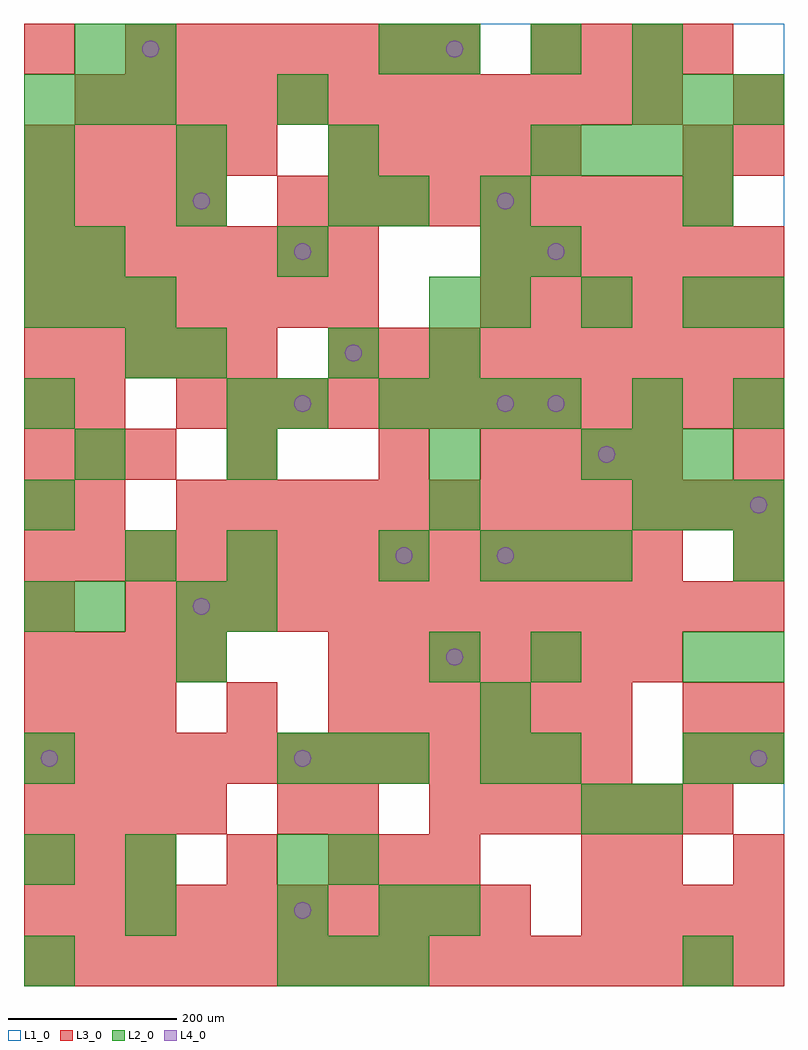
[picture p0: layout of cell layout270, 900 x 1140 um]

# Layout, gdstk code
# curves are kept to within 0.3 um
import gdstk
lib = gdstk.Library(unit=1e-6, precision=1e-09)
def R(c, l, rs):  # rectangles x0, y0, x1, y1
    for r in rs: c.add(gdstk.rectangle(r[:2], r[2:], *l))
def A(c, l, x, y, w, h, nx, ny, dx, dy):  # array of equal rectangles
    R(c, l, [(x+i*dx, y+j*dy, x+i*dx+w, y+j*dy+h) for i in range(nx) for j in range(ny)])
def P(c, l, *ps):  # polygons
    for p in ps: c.add(gdstk.Polygon(p, *l))
L1_0 = (1, 0)
L2_0 = (2, 0)
L3_0 = (3, 0)
L4_0 = (4, 0)

layout270 = lib.new_cell('layout270')
R(layout270, L1_0, [(0,0,900,1140)])
A(layout270, L2_0, 0, 0, 60, 60, 1, 3, 0, 120)
A(layout270, L2_0, 300, 0, 60, 60, 3, 2, 60, 240)
A(layout270, L2_0, 420, 60, 60, 60, 1, 3, 0, 420)
A(layout270, L2_0, 840, 240, 60, 60, 1, 3, 0, 120)
A(layout270, L2_0, 0, 420, 60, 60, 1, 3, 0, 120)
A(layout270, L2_0, 540, 480, 60, 60, 3, 1, 60, 0)
A(layout270, L2_0, 720, 540, 60, 60, 3, 2, 60, 480)
A(layout270, L2_0, 660, 600, 60, 60, 3, 1, 60, 0)
A(layout270, L2_0, 420, 660, 60, 60, 4, 1, 60, 0)
A(layout270, L2_0, 0, 780, 60, 60, 3, 2, 60, 240)
A(layout270, L2_0, 540, 780, 60, 60, 3, 1, 120, 0)
A(layout270, L2_0, 60, 840, 60, 60, 3, 1, 240, 0)
A(layout270, L2_0, 0, 900, 60, 60, 3, 2, 180, 60)
A(layout270, L2_0, 600, 960, 60, 60, 4, 1, 60, 0)
A(layout270, L2_0, 480, 1080, 60, 60, 3, 1, 120, 0)
R(layout270, L2_0, [(780,0,840,60), (120,60,180,120), (300,60,360,120), (480,60,540,120), (120,120,180,180), (300,120,360,180), (360,120,420,180), (660,180,720,240), (720,180,780,240), (540,240,600,300), (600,240,660,300), (780,240,840,300), (540,300,600,360), (180,360,240,420), (480,360,540,420), (600,360,660,420), (780,360,840,420), (60,420,120,480), (180,420,240,480), (240,420,300,480), (120,480,180,540), (240,480,300,540), (480,540,540,600), (60,600,120,660), (240,600,300,660), (480,600,540,660), (240,660,300,720), (300,660,360,720), (720,660,780,720), (840,660,900,720), (120,720,180,780), (180,720,240,780), (360,720,420,780), (480,720,540,780), (480,780,540,840), (840,780,900,840), (0,840,60,900), (600,840,660,900), (540,900,600,960), (780,900,840,960), (300,1020,360,1080), (60,1080,120,1140), (120,1080,180,1140), (420,1080,480,1140)])
A(layout270, L3_0, 0, 0, 60, 60, 15, 1, 60, 0)
A(layout270, L3_0, 0, 60, 60, 60, 10, 1, 60, 0)
A(layout270, L3_0, 660, 60, 60, 60, 4, 1, 60, 0)
A(layout270, L3_0, 0, 120, 60, 60, 3, 2, 60, 180)
A(layout270, L3_0, 360, 120, 60, 60, 3, 1, 60, 0)
A(layout270, L3_0, 0, 180, 60, 60, 4, 2, 60, 180)
A(layout270, L3_0, 480, 180, 60, 60, 6, 1, 60, 0)
A(layout270, L3_0, 0, 240, 60, 60, 12, 1, 60, 0)
A(layout270, L3_0, 360, 300, 60, 60, 6, 1, 60, 0)
A(layout270, L3_0, 360, 360, 60, 60, 7, 1, 60, 0)
A(layout270, L3_0, 0, 420, 60, 60, 1, 3, 0, 120)
A(layout270, L3_0, 120, 420, 60, 60, 13, 1, 60, 0)
A(layout270, L3_0, 0, 480, 60, 60, 13, 1, 60, 0)
A(layout270, L3_0, 180, 540, 60, 60, 12, 2, 60, 120)
A(layout270, L3_0, 0, 600, 60, 60, 3, 1, 60, 0)
A(layout270, L3_0, 540, 600, 60, 60, 4, 1, 60, 0)
A(layout270, L3_0, 0, 720, 60, 60, 5, 2, 60, 240)
A(layout270, L3_0, 360, 720, 60, 60, 9, 1, 60, 0)
A(layout270, L3_0, 0, 780, 60, 60, 7, 2, 60, 60)
A(layout270, L3_0, 540, 780, 60, 60, 6, 2, 60, 60)
A(layout270, L3_0, 0, 900, 60, 60, 4, 1, 60, 0)
A(layout270, L3_0, 300, 900, 60, 60, 9, 1, 60, 0)
A(layout270, L3_0, 360, 960, 60, 60, 5, 1, 60, 0)
A(layout270, L3_0, 60, 1020, 60, 60, 12, 1, 60, 0)
A(layout270, L3_0, 120, 1080, 60, 60, 7, 1, 60, 0)
A(layout270, L3_0, 600, 1080, 60, 60, 4, 1, 60, 0)
R(layout270, L3_0, [(240,120,300,180), (660,120,720,180), (720,120,780,180), (840,120,900,180), (300,180,360,240), (360,180,420,240), (780,240,840,300), (840,240,900,300), (240,300,300,360), (780,300,840,360), (840,300,900,360), (840,480,900,540), (60,540,120,600), (240,600,300,660), (420,600,480,660), (840,600,900,660), (60,660,120,720), (780,960,840,1020), (840,960,900,1020), (840,1020,900,1080), (0,1080,60,1140)])
P(layout270, L4_0, [(40,270),(39.239,273.827),(37.071,277.071),(33.827,279.239),(30,280),(26.173,279.239),(22.929,277.071),(20.761,273.827),(20,270),(20.761,266.173),(22.929,262.929),(26.173,260.761),(30,260),(33.827,260.761),(37.071,262.929),(39.239,266.173)],
  [(160,1110),(159.239,1113.827),(157.071,1117.071),(153.827,1119.239),(150,1120),(146.173,1119.239),(142.929,1117.071),(140.761,1113.827),(140,1110),(140.761,1106.173),(142.929,1102.929),(146.173,1100.761),(150,1100),(153.827,1100.761),(157.071,1102.929),(159.239,1106.173)],
  [(220,450),(219.239,453.827),(217.071,457.071),(213.827,459.239),(210,460),(206.173,459.239),(202.929,457.071),(200.761,453.827),(200,450),(200.761,446.173),(202.929,442.929),(206.173,440.761),(210,440),(213.827,440.761),(217.071,442.929),(219.239,446.173)],
  [(220,930),(219.239,933.827),(217.071,937.071),(213.827,939.239),(210,940),(206.173,939.239),(202.929,937.071),(200.761,933.827),(200,930),(200.761,926.173),(202.929,922.929),(206.173,920.761),(210,920),(213.827,920.761),(217.071,922.929),(219.239,926.173)],
  [(340,90),(339.239,93.827),(337.071,97.071),(333.827,99.239),(330,100),(326.173,99.239),(322.929,97.071),(320.761,93.827),(320,90),(320.761,86.173),(322.929,82.929),(326.173,80.761),(330,80),(333.827,80.761),(337.071,82.929),(339.239,86.173)],
  [(340,270),(339.239,273.827),(337.071,277.071),(333.827,279.239),(330,280),(326.173,279.239),(322.929,277.071),(320.761,273.827),(320,270),(320.761,266.173),(322.929,262.929),(326.173,260.761),(330,260),(333.827,260.761),(337.071,262.929),(339.239,266.173)],
  [(340,690),(339.239,693.827),(337.071,697.071),(333.827,699.239),(330,700),(326.173,699.239),(322.929,697.071),(320.761,693.827),(320,690),(320.761,686.173),(322.929,682.929),(326.173,680.761),(330,680),(333.827,680.761),(337.071,682.929),(339.239,686.173)],
  [(340,870),(339.239,873.827),(337.071,877.071),(333.827,879.239),(330,880),(326.173,879.239),(322.929,877.071),(320.761,873.827),(320,870),(320.761,866.173),(322.929,862.929),(326.173,860.761),(330,860),(333.827,860.761),(337.071,862.929),(339.239,866.173)],
  [(400,750),(399.239,753.827),(397.071,757.071),(393.827,759.239),(390,760),(386.173,759.239),(382.929,757.071),(380.761,753.827),(380,750),(380.761,746.173),(382.929,742.929),(386.173,740.761),(390,740),(393.827,740.761),(397.071,742.929),(399.239,746.173)],
  [(460,510),(459.239,513.827),(457.071,517.071),(453.827,519.239),(450,520),(446.173,519.239),(442.929,517.071),(440.761,513.827),(440,510),(440.761,506.173),(442.929,502.929),(446.173,500.761),(450,500),(453.827,500.761),(457.071,502.929),(459.239,506.173)],
  [(520,390),(519.239,393.827),(517.071,397.071),(513.827,399.239),(510,400),(506.173,399.239),(502.929,397.071),(500.761,393.827),(500,390),(500.761,386.173),(502.929,382.929),(506.173,380.761),(510,380),(513.827,380.761),(517.071,382.929),(519.239,386.173)],
  [(520,1110),(519.239,1113.827),(517.071,1117.071),(513.827,1119.239),(510,1120),(506.173,1119.239),(502.929,1117.071),(500.761,1113.827),(500,1110),(500.761,1106.173),(502.929,1102.929),(506.173,1100.761),(510,1100),(513.827,1100.761),(517.071,1102.929),(519.239,1106.173)],
  [(580,510),(579.239,513.827),(577.071,517.071),(573.827,519.239),(570,520),(566.173,519.239),(562.929,517.071),(560.761,513.827),(560,510),(560.761,506.173),(562.929,502.929),(566.173,500.761),(570,500),(573.827,500.761),(577.071,502.929),(579.239,506.173)],
  [(580,690),(579.239,693.827),(577.071,697.071),(573.827,699.239),(570,700),(566.173,699.239),(562.929,697.071),(560.761,693.827),(560,690),(560.761,686.173),(562.929,682.929),(566.173,680.761),(570,680),(573.827,680.761),(577.071,682.929),(579.239,686.173)],
  [(580,930),(579.239,933.827),(577.071,937.071),(573.827,939.239),(570,940),(566.173,939.239),(562.929,937.071),(560.761,933.827),(560,930),(560.761,926.173),(562.929,922.929),(566.173,920.761),(570,920),(573.827,920.761),(577.071,922.929),(579.239,926.173)],
  [(640,690),(639.239,693.827),(637.071,697.071),(633.827,699.239),(630,700),(626.173,699.239),(622.929,697.071),(620.761,693.827),(620,690),(620.761,686.173),(622.929,682.929),(626.173,680.761),(630,680),(633.827,680.761),(637.071,682.929),(639.239,686.173)],
  [(640,870),(639.239,873.827),(637.071,877.071),(633.827,879.239),(630,880),(626.173,879.239),(622.929,877.071),(620.761,873.827),(620,870),(620.761,866.173),(622.929,862.929),(626.173,860.761),(630,860),(633.827,860.761),(637.071,862.929),(639.239,866.173)],
  [(700,630),(699.239,633.827),(697.071,637.071),(693.827,639.239),(690,640),(686.173,639.239),(682.929,637.071),(680.761,633.827),(680,630),(680.761,626.173),(682.929,622.929),(686.173,620.761),(690,620),(693.827,620.761),(697.071,622.929),(699.239,626.173)],
  [(880,270),(879.239,273.827),(877.071,277.071),(873.827,279.239),(870,280),(866.173,279.239),(862.929,277.071),(860.761,273.827),(860,270),(860.761,266.173),(862.929,262.929),(866.173,260.761),(870,260),(873.827,260.761),(877.071,262.929),(879.239,266.173)],
  [(880,570),(879.239,573.827),(877.071,577.071),(873.827,579.239),(870,580),(866.173,579.239),(862.929,577.071),(860.761,573.827),(860,570),(860.761,566.173),(862.929,562.929),(866.173,560.761),(870,560),(873.827,560.761),(877.071,562.929),(879.239,566.173)])

lib.write_gds('layout270.gds')
